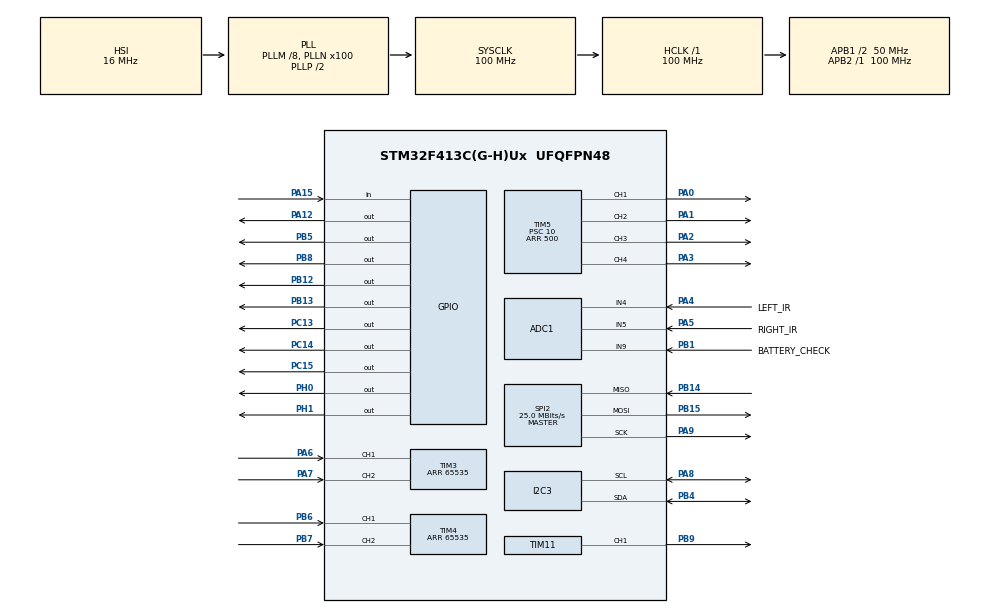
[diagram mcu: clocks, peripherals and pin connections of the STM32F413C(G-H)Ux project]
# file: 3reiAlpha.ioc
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ADC1.Channel-0\#ChannelRegularConversion=ADC_CHANNEL_4
ADC1.Channel-1\#ChannelRegularConversion=ADC_CHANNEL_5
ADC1.Channel-2\#ChannelRegularConversion=ADC_CHANNEL_9
ADC1.ClockPrescaler=ADC_CLOCK_SYNC_PCLK_DIV8
ADC1.ContinuousConvMode=ENABLE
ADC1.DMAContinuousRequests=ENABLE
ADC1.NbrOfConversion=3
ADC1.NbrOfConversionFlag=1
ADC1.Rank-0\#ChannelRegularConversion=1
ADC1.Rank-1\#ChannelRegularConversion=2
ADC1.Rank-2\#ChannelRegularConversion=3
ADC1.SamplingTime-0\#ChannelRegularConversion=ADC_SAMPLETIME_84CYCLES
ADC1.SamplingTime-1\#ChannelRegularConversion=ADC_SAMPLETIME_84CYCLES
ADC1.SamplingTime-2\#ChannelRegularConversion=ADC_SAMPLETIME_84CYCLES
ADC1.ScanConvMode=ENABLE
ADC1.master=1
Dma.ADC1.0.Direction=DMA_PERIPH_TO_MEMORY
Dma.ADC1.0.FIFOMode=DMA_FIFOMODE_DISABLE
Dma.ADC1.0.Instance=DMA2_Stream0
Dma.ADC1.0.MemDataAlignment=DMA_MDATAALIGN_HALFWORD
Dma.ADC1.0.MemInc=DMA_MINC_ENABLE
Dma.ADC1.0.Mode=DMA_CIRCULAR
Dma.ADC1.0.PeriphDataAlignment=DMA_PDATAALIGN_HALFWORD
Dma.ADC1.0.PeriphInc=DMA_PINC_DISABLE
Dma.ADC1.0.Priority=DMA_PRIORITY_LOW
Dma.Request0=ADC1
I2C3.I2C_Mode=I2C_Fast
I2C3.NoStretchMode=I2C_NOSTRETCH_ENABLE
Mcu.Family=STM32F4
Mcu.Name=STM32F413C(G-H)Ux
Mcu.Package=UFQFPN48
NVIC.ADC_IRQn=true\:0\:0\:false\:false\:true\:true\:true
NVIC.DMA2_Stream0_IRQn=true\:5\:0\:true\:true\:true\:1\:false\:true
NVIC.PriorityGroup=NVIC_PRIORITYGROUP_4
NVIC.TIM1_UP_TIM10_IRQn=true\:0\:0\:false\:false\:true\:false\:true
NVIC.TIM2_IRQn=true\:0\:0\:false\:false\:true\:true\:true
NVIC.TimeBase=TIM1_UP_TIM10_IRQn
NVIC.TimeBaseIP=TIM1
PA0.GPIO_PuPd=GPIO_PULLUP
PA0.GPIO_Speed=GPIO_SPEED_FREQ_VERY_HIGH
PA0.Signal=S_TIM5_CH1
PA1.GPIO_PuPd=GPIO_PULLUP
PA1.GPIO_Speed=GPIO_SPEED_FREQ_VERY_HIGH
PA1.Signal=S_TIM5_CH2
PA12.Signal=GPIO_Output
PA13.Signal=SYS_JTMS-SWDIO
PA14.Signal=SYS_JTCK-SWCLK
PA15.Signal=GPIO_Input
PA2.GPIO_PuPd=GPIO_PULLUP
PA2.GPIO_Speed=GPIO_SPEED_FREQ_VERY_HIGH
PA2.Signal=S_TIM5_CH3
PA3.GPIO_PuPd=GPIO_PULLUP
PA3.GPIO_Speed=GPIO_SPEED_FREQ_VERY_HIGH
PA3.Signal=S_TIM5_CH4
PA4.GPIO_Label=LEFT_IR
PA4.Signal=ADCx_IN4
PA5.GPIO_Label=RIGHT_IR
PA5.Signal=ADCx_IN5
PA6.Signal=S_TIM3_CH1
PA7.Signal=S_TIM3_CH2
PA8.Mode=I2C
PA8.Signal=I2C3_SCL
PA9.Mode=Full_Duplex_Master
PA9.Signal=SPI2_SCK
PB1.GPIO_Label=BATTERY_CHECK
PB1.Signal=ADCx_IN9
PB12.Signal=GPIO_Output
PB13.Signal=GPIO_Output
PB14.Mode=Full_Duplex_Master
PB14.Signal=SPI2_MISO
PB15.Mode=Full_Duplex_Master
PB15.Signal=SPI2_MOSI
PB3.Signal=SYS_JTDO-SWO
PB4.Mode=I2C
PB4.Signal=I2C3_SDA
PB5.Signal=GPIO_Output
PB6.Signal=S_TIM4_CH1
PB7.Signal=S_TIM4_CH2
PB8.Signal=GPIO_Output
PB9.GPIO_Speed=GPIO_SPEED_FREQ_VERY_HIGH
PB9.Signal=S_TIM11_CH1
PC13.Signal=GPIO_Output
PC14-OSC32_IN.Signal=GPIO_Output
PC15-OSC32_OUT.Signal=GPIO_Output
PH0\ -\ OSC_IN.Signal=GPIO_Output
PH1\ -\ OSC_OUT.Signal=GPIO_Output
ProjectManager.HeapSize=0x200
ProjectManager.StackSize=0x400
ProjectManager.TargetToolchain=TrueSTUDIO
RCC.AHBFreq_Value=100000000
RCC.APB1CLKDivider=RCC_HCLK_DIV2
RCC.APB1Freq_Value=50000000
RCC.APB1TimFreq_Value=100000000
RCC.APB2Freq_Value=100000000
RCC.APB2TimFreq_Value=100000000
RCC.CortexFreq_Value=100000000
RCC.HCLKFreq_Value=100000000
RCC.PLLM=8
RCC.PLLN=100
RCC.SYSCLKFreq_VALUE=100000000
RCC.SYSCLKSource=RCC_SYSCLKSOURCE_PLLCLK
RCC.USBFreq_Value=100000000
RCC.VCOOutputFreq_Value=200000000
SH.ADCx_IN4.0=ADC1_IN4,IN4
SH.ADCx_IN5.0=ADC1_IN5,IN5
SH.ADCx_IN9.0=ADC1_IN9,IN9
SH.S_TIM11_CH1.0=TIM11_CH1,PWM Generation1 CH1
SH.S_TIM3_CH1.0=TIM3_CH1,Encoder_Interface
SH.S_TIM3_CH2.0=TIM3_CH2,Encoder_Interface
SH.S_TIM4_CH1.0=TIM4_CH1,Encoder_Interface
SH.S_TIM4_CH2.0=TIM4_CH2,Encoder_Interface
SH.S_TIM5_CH1.0=TIM5_CH1,PWM Generation1 CH1
SH.S_TIM5_CH2.0=TIM5_CH2,PWM Generation2 CH2
SH.S_TIM5_CH3.0=TIM5_CH3,PWM Generation3 CH3
SH.S_TIM5_CH4.0=TIM5_CH4,PWM Generation4 CH4
SPI2.BaudRatePrescaler=SPI_BAUDRATEPRESCALER_2
SPI2.CLKPhase=SPI_PHASE_2EDGE
SPI2.CLKPolarity=SPI_POLARITY_HIGH
SPI2.CalculateBaudRate=25.0 MBits/s
SPI2.Direction=SPI_DIRECTION_2LINES
SPI2.Mode=SPI_MODE_MASTER
SPI2.VirtualType=VM_MASTER
TIM11.Channel=TIM_CHANNEL_1
TIM11.Period=100
TIM11.Prescaler=50
TIM11.Pulse=30
TIM2.Period=100
TIM2.Prescaler=10
TIM3.EncoderMode=TIM_ENCODERMODE_TI12
TIM3.Period=65535
TIM4.EncoderMode=TIM_ENCODERMODE_TI12
TIM4.IC2Polarity=TIM_ICPOLARITY_FALLING
TIM4.Period=65535
TIM5.Channel-PWM\ Generation1\ CH1=TIM_CHANNEL_1
TIM5.Channel-PWM\ Generation2\ CH2=TIM_CHANNEL_2
TIM5.Channel-PWM\ Generation3\ CH3=TIM_CHANNEL_3
TIM5.Channel-PWM\ Generation4\ CH4=TIM_CHANNEL_4
TIM5.Period=500
TIM5.Prescaler=10
TIM5.Pulse-PWM\ Generation1\ CH1=100
TIM5.Pulse-PWM\ Generation3\ CH3=100
TIM6.Period=1000
TIM6.Prescaler=10
VP_SYS_VS_tim1.Mode=TIM1
VP_TIM11_VS_ClockSourceINT.Mode=Enable_Timer
VP_TIM2_VS_ClockSourceINT.Mode=Internal
VP_TIM6_VS_ClockSourceINT.Mode=Enable_Timer
board=custom

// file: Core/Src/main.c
/* USER CODE BEGIN Header */
/**
  ******************************************************************************
  * @file           : main.c
  * @brief          : Main program body
  ******************************************************************************
  * @attention
  *
  * <h2><center>&copy; Copyright (c) 2019 STMicroelectronics.
  * All rights reserved.</center></h2>
  *
  * This software component is licensed by ST under Ultimate Liberty license
  * SLA0044, the "License"; You may not use this file except in compliance with
  * the License. You may obtain a copy of the License at:
  *                             www.st.com/SLA0044
  *
  ******************************************************************************
  */
/* USER CODE END Header */

#include "main.h"

ADC_HandleTypeDef hadc1;
DMA_HandleTypeDef hdma_adc1;

I2C_HandleTypeDef hi2c3;

SPI_HandleTypeDef hspi2;

TIM_HandleTypeDef htim2;
TIM_HandleTypeDef htim3;
TIM_HandleTypeDef htim4;
TIM_HandleTypeDef htim5;
TIM_HandleTypeDef htim6;
TIM_HandleTypeDef htim11;

void SystemClock_Config(void);
static void MX_GPIO_Init(void);
static void MX_DMA_Init(void);
static void MX_ADC1_Init(void);
static void MX_I2C3_Init(void);
static void MX_SPI2_Init(void);
static void MX_TIM3_Init(void);
static void MX_TIM4_Init(void);
static void MX_TIM5_Init(void);
static void MX_TIM6_Init(void);
static void MX_TIM11_Init(void);
static void MX_TIM2_Init(void);
static void MX_NVIC_Init(void);
/* USER CODE BEGIN PFP */
enum{ ADC_BUFFER_LENGTH = 3};
volatile uint16_t g_ADCBuffer[ADC_BUFFER_LENGTH];
volatile uint16_t sampled_ADCBuffer[ADC_BUFFER_LENGTH];
uint32_t time_measure = 0;
uint16_t left_IR_value = 0, right_IR_value = 0;
uint16_t left_IR_tmp_value = 0, right_IR_tmp_value = 0;
int16_t left_encoder, right_encoder;

/* USER CODE END PFP */

/* USER CODE BEGIN 0 */
void vLEDFlashTask( void *pvParameters )
{
  portTickType xLastWakeTime;
  const portTickType xFrequency = 1000;
  xLastWakeTime=xTaskGetTickCount();
  while(1){
  	HAL_GPIO_TogglePin(GPIOC, GPIO_PIN_13 | GPIO_PIN_14 | GPIO_PIN_15);
  	HAL_GPIO_TogglePin(GPIOH, GPIO_PIN_0);
  	vTaskDelayUntil(&xLastWakeTime,xFrequency);
  	printf("ADC %d, %d, %d\n", g_ADCBuffer[0], g_ADCBuffer[1], g_ADCBuffer[2]);
  }
}
void HAL_ADC_ConvHalfCpltCallback(ADC_HandleTypeDef* hadc)
{
	//osMessageQueuePut(myQueue01Handle, g_ADCBuffer, 0, 0);
	//HAL_ADC_Stop_DMA(&hadc1);
	//sampled_ADCBuffer[0] = g_ADCBuffer[0];
	//sampled_ADCBuffer[1] = g_ADCBuffer[1];
	//sampled_ADCBuffer[2] = g_ADCBuffer[2];
  /* Prevent unused argument(s) compilation warning */
  //HAL_ADC_Start_DMA(&hadc1, g_ADCBuffer, ADC_BUFFER_LENGTH);//DMA start
  /* NOTE : This function should not be modified. When the callback is needed,
            function HAL_ADC_ConvHalfCpltCallback must be implemented in the user file.
  */
}
/* USER CODE END 0 */

int main(void)
{

  /* MCU Configuration--------------------------------------------------------*/

  /* Reset of all peripherals, Initializes the Flash interface and the Systick. */
  HAL_Init();

  /* USER CODE BEGIN Init */
	printf("po %f\r\n", 3.14);
  /* USER CODE END Init */

  /* Configure the system clock */
  SystemClock_Config();

  /* Initialize all configured peripherals */
  MX_GPIO_Init();
  MX_DMA_Init();
  MX_ADC1_Init();
  MX_I2C3_Init();
  MX_SPI2_Init();
  MX_TIM3_Init();
  MX_TIM4_Init();
  MX_TIM5_Init();
  MX_TIM6_Init();
  MX_TIM11_Init();
  MX_TIM2_Init();

  /* Initialize interrupts */
  MX_NVIC_Init();
  /* USER CODE BEGIN 2 */
  HAL_Delay(500);
  HAL_ADC_Start_DMA(&hadc1, g_ADCBuffer, ADC_BUFFER_LENGTH);//DMA start
  HAL_Delay(500);

#if 0
  HAL_TIM_Base_Start_IT(&htim2); //control sequence
  //start_motor();
  HAL_Delay(1000);
  stop_motor();
  HAL_TIM_Encoder_Start(&htim3,TIM_CHANNEL_ALL);// left encoder
  HAL_TIM_Encoder_Start(&htim4,TIM_CHANNEL_ALL);// right encoder
  IR_start();
  imuSetting();
  imuPing();
  while(1){
  	//IR_task();
  	printf("CNT3 -> %d CNT4 -> %d\n",TIM3->CNT, TIM4->CNT);
  	printf("ADC0 -> %d ADC1 -> %d ADC2 -> %d\n", g_ADCBuffer[0], g_ADCBuffer[1], g_ADCBuffer[2]);
    printf("gyro is %d \n", readZGYRO());

    ToF_sampling_test();
  	HAL_Delay(10);
  }
  /*
  while(1){
  	HAL_Delay(10);
    printf("gyro is %d \n", readZGYRO());
  }
  */
  //Sample_FreeRunningRanging();
  Sample_SimpleRanging();
  //Sample_SimpleAls();
  HAL_Delay(600);
#endif
  /* USER CODE END 2 */

  /* Infinite loop */
  /* USER CODE BEGIN WHILE */
  xTaskCreate( vLEDFlashTask, ( signed char * ) "LED", configMINIMAL_STACK_SIZE, NULL, 1, NULL);
  vTaskStartScheduler();
  while (1)
  {
    /* USER CODE END WHILE */

  }
}

void SystemClock_Config(void)
{
  RCC_OscInitTypeDef RCC_OscInitStruct = {0};
  RCC_ClkInitTypeDef RCC_ClkInitStruct = {0};

  /** Configure the main internal regulator output voltage
  */
  __HAL_RCC_PWR_CLK_ENABLE();
  __HAL_PWR_VOLTAGESCALING_CONFIG(PWR_REGULATOR_VOLTAGE_SCALE1);
  /** Initializes the CPU, AHB and APB busses clocks
  */
  RCC_OscInitStruct.OscillatorType = RCC_OSCILLATORTYPE_HSI;
  RCC_OscInitStruct.HSIState = RCC_HSI_ON;
  RCC_OscInitStruct.HSICalibrationValue = RCC_HSICALIBRATION_DEFAULT;
  RCC_OscInitStruct.PLL.PLLState = RCC_PLL_ON;
  RCC_OscInitStruct.PLL.PLLSource = RCC_PLLSOURCE_HSI;
  RCC_OscInitStruct.PLL.PLLM = 8;
  RCC_OscInitStruct.PLL.PLLN = 100;
  RCC_OscInitStruct.PLL.PLLP = RCC_PLLP_DIV2;
  RCC_OscInitStruct.PLL.PLLQ = 2;
  RCC_OscInitStruct.PLL.PLLR = 2;
  if (HAL_RCC_OscConfig(&RCC_OscInitStruct) != HAL_OK)
  {
    Error_Handler();
  }
  /** Initializes the CPU, AHB and APB busses clocks
  */
  RCC_ClkInitStruct.ClockType = RCC_CLOCKTYPE_HCLK|RCC_CLOCKTYPE_SYSCLK
                              |RCC_CLOCKTYPE_PCLK1|RCC_CLOCKTYPE_PCLK2;
  RCC_ClkInitStruct.SYSCLKSource = RCC_SYSCLKSOURCE_PLLCLK;
  RCC_ClkInitStruct.AHBCLKDivider = RCC_SYSCLK_DIV1;
  RCC_ClkInitStruct.APB1CLKDivider = RCC_HCLK_DIV2;
  RCC_ClkInitStruct.APB2CLKDivider = RCC_HCLK_DIV1;

  if (HAL_RCC_ClockConfig(&RCC_ClkInitStruct, FLASH_LATENCY_3) != HAL_OK)
  {
    Error_Handler();
  }
}

/**
  * @brief NVIC Configuration.
  * @retval None
  */
static void MX_NVIC_Init(void)
{
  /* DMA2_Stream0_IRQn interrupt configuration */
  HAL_NVIC_SetPriority(DMA2_Stream0_IRQn, 5, 0);
  HAL_NVIC_EnableIRQ(DMA2_Stream0_IRQn);
}

static void MX_ADC1_Init(void)
{

  ADC_ChannelConfTypeDef sConfig = {0};

  /** Configure the global features of the ADC (Clock, Resolution, Data Alignment and number of conversion)
  */
  hadc1.Instance = ADC1;
  hadc1.Init.ClockPrescaler = ADC_CLOCK_SYNC_PCLK_DIV8;
  hadc1.Init.Resolution = ADC_RESOLUTION_12B;
  hadc1.Init.ScanConvMode = ENABLE;
  hadc1.Init.ContinuousConvMode = ENABLE;
  hadc1.Init.DiscontinuousConvMode = DISABLE;
  hadc1.Init.ExternalTrigConvEdge = ADC_EXTERNALTRIGCONVEDGE_NONE;
  hadc1.Init.ExternalTrigConv = ADC_SOFTWARE_START;
  hadc1.Init.DataAlign = ADC_DATAALIGN_RIGHT;
  hadc1.Init.NbrOfConversion = 3;
  hadc1.Init.DMAContinuousRequests = ENABLE;
  hadc1.Init.EOCSelection = ADC_EOC_SINGLE_CONV;
  if (HAL_ADC_Init(&hadc1) != HAL_OK)
  {
    Error_Handler();
  }
  /** Configure for the selected ADC regular channel its corresponding rank in the sequencer and its sample time.
  */
  sConfig.Channel = ADC_CHANNEL_4;
  sConfig.Rank = 1;
  sConfig.SamplingTime = ADC_SAMPLETIME_84CYCLES;
  if (HAL_ADC_ConfigChannel(&hadc1, &sConfig) != HAL_OK)
  {
    Error_Handler();
  }
  /** Configure for the selected ADC regular channel its corresponding rank in the sequencer and its sample time.
  */
  sConfig.Channel = ADC_CHANNEL_5;
  sConfig.Rank = 2;
  if (HAL_ADC_ConfigChannel(&hadc1, &sConfig) != HAL_OK)
  {
    Error_Handler();
  }
  /** Configure for the selected ADC regular channel its corresponding rank in the sequencer and its sample time.
  */
  sConfig.Channel = ADC_CHANNEL_9;
  sConfig.Rank = 3;
  if (HAL_ADC_ConfigChannel(&hadc1, &sConfig) != HAL_OK)
  {
    Error_Handler();
  }

}

static void MX_I2C3_Init(void)
{

  hi2c3.Instance = I2C3;
  hi2c3.Init.ClockSpeed = 400000;
  hi2c3.Init.DutyCycle = I2C_DUTYCYCLE_2;
  hi2c3.Init.OwnAddress1 = 0;
  hi2c3.Init.AddressingMode = I2C_ADDRESSINGMODE_7BIT;
  hi2c3.Init.DualAddressMode = I2C_DUALADDRESS_DISABLE;
  hi2c3.Init.OwnAddress2 = 0;
  hi2c3.Init.GeneralCallMode = I2C_GENERALCALL_DISABLE;
  hi2c3.Init.NoStretchMode = I2C_NOSTRETCH_ENABLE;
  if (HAL_I2C_Init(&hi2c3) != HAL_OK)
  {
    Error_Handler();
  }

}

static void MX_SPI2_Init(void)
{

  /* SPI2 parameter configuration*/
  hspi2.Instance = SPI2;
  hspi2.Init.Mode = SPI_MODE_MASTER;
  hspi2.Init.Direction = SPI_DIRECTION_2LINES;
  hspi2.Init.DataSize = SPI_DATASIZE_8BIT;
  hspi2.Init.CLKPolarity = SPI_POLARITY_HIGH;
  hspi2.Init.CLKPhase = SPI_PHASE_2EDGE;
  hspi2.Init.NSS = SPI_NSS_SOFT;
  hspi2.Init.BaudRatePrescaler = SPI_BAUDRATEPRESCALER_2;
  hspi2.Init.FirstBit = SPI_FIRSTBIT_MSB;
  hspi2.Init.TIMode = SPI_TIMODE_DISABLE;
  hspi2.Init.CRCCalculation = SPI_CRCCALCULATION_DISABLE;
  hspi2.Init.CRCPolynomial = 10;
  if (HAL_SPI_Init(&hspi2) != HAL_OK)
  {
    Error_Handler();
  }

}

static void MX_TIM2_Init(void)
{

  TIM_ClockConfigTypeDef sClockSourceConfig = {0};
  TIM_MasterConfigTypeDef sMasterConfig = {0};

  htim2.Instance = TIM2;
  htim2.Init.Prescaler = 10;
  htim2.Init.CounterMode = TIM_COUNTERMODE_UP;
  htim2.Init.Period = 100;
  htim2.Init.ClockDivision = TIM_CLOCKDIVISION_DIV1;
  htim2.Init.AutoReloadPreload = TIM_AUTORELOAD_PRELOAD_DISABLE;
  if (HAL_TIM_Base_Init(&htim2) != HAL_OK)
  {
    Error_Handler();
  }
  sClockSourceConfig.ClockSource = TIM_CLOCKSOURCE_INTERNAL;
  if (HAL_TIM_ConfigClockSource(&htim2, &sClockSourceConfig) != HAL_OK)
  {
    Error_Handler();
  }
  sMasterConfig.MasterOutputTrigger = TIM_TRGO_RESET;
  sMasterConfig.MasterSlaveMode = TIM_MASTERSLAVEMODE_DISABLE;
  if (HAL_TIMEx_MasterConfigSynchronization(&htim2, &sMasterConfig) != HAL_OK)
  {
    Error_Handler();
  }

}

static void MX_TIM3_Init(void)
{

  TIM_Encoder_InitTypeDef sConfig = {0};
  TIM_MasterConfigTypeDef sMasterConfig = {0};

  htim3.Instance = TIM3;
  htim3.Init.Prescaler = 0;
  htim3.Init.CounterMode = TIM_COUNTERMODE_UP;
  htim3.Init.Period = 65535;
  htim3.Init.ClockDivision = TIM_CLOCKDIVISION_DIV1;
  htim3.Init.AutoReloadPreload = TIM_AUTORELOAD_PRELOAD_DISABLE;
  sConfig.EncoderMode = TIM_ENCODERMODE_TI12;
  sConfig.IC1Polarity = TIM_ICPOLARITY_RISING;
  sConfig.IC1Selection = TIM_ICSELECTION_DIRECTTI;
  sConfig.IC1Prescaler = TIM_ICPSC_DIV1;
  sConfig.IC1Filter = 0;
  sConfig.IC2Polarity = TIM_ICPOLARITY_RISING;
  sConfig.IC2Selection = TIM_ICSELECTION_DIRECTTI;
  sConfig.IC2Prescaler = TIM_ICPSC_DIV1;
  sConfig.IC2Filter = 0;
  if (HAL_TIM_Encoder_Init(&htim3, &sConfig) != HAL_OK)
  {
    Error_Handler();
  }
  sMasterConfig.MasterOutputTrigger = TIM_TRGO_RESET;
  sMasterConfig.MasterSlaveMode = TIM_MASTERSLAVEMODE_DISABLE;
  if (HAL_TIMEx_MasterConfigSynchronization(&htim3, &sMasterConfig) != HAL_OK)
  {
    Error_Handler();
  }

}

static void MX_TIM4_Init(void)
{

  TIM_Encoder_InitTypeDef sConfig = {0};
  TIM_MasterConfigTypeDef sMasterConfig = {0};

  htim4.Instance = TIM4;
  htim4.Init.Prescaler = 0;
  htim4.Init.CounterMode = TIM_COUNTERMODE_UP;
  htim4.Init.Period = 65535;
  htim4.Init.ClockDivision = TIM_CLOCKDIVISION_DIV1;
  htim4.Init.AutoReloadPreload = TIM_AUTORELOAD_PRELOAD_DISABLE;
  sConfig.EncoderMode = TIM_ENCODERMODE_TI12;
  sConfig.IC1Polarity = TIM_ICPOLARITY_RISING;
  sConfig.IC1Selection = TIM_ICSELECTION_DIRECTTI;
  sConfig.IC1Prescaler = TIM_ICPSC_DIV1;
  sConfig.IC1Filter = 0;
  sConfig.IC2Polarity = TIM_ICPOLARITY_FALLING;
  sConfig.IC2Selection = TIM_ICSELECTION_DIRECTTI;
  sConfig.IC2Prescaler = TIM_ICPSC_DIV1;
  sConfig.IC2Filter = 0;
  if (HAL_TIM_Encoder_Init(&htim4, &sConfig) != HAL_OK)
  {
    Error_Handler();
  }
  sMasterConfig.MasterOutputTrigger = TIM_TRGO_RESET;
  sMasterConfig.MasterSlaveMode = TIM_MASTERSLAVEMODE_DISABLE;
  if (HAL_TIMEx_MasterConfigSynchronization(&htim4, &sMasterConfig) != HAL_OK)
  {
    Error_Handler();
  }

}

static void MX_TIM5_Init(void)
{

  TIM_MasterConfigTypeDef sMasterConfig = {0};
  TIM_OC_InitTypeDef sConfigOC = {0};

  htim5.Instance = TIM5;
  htim5.Init.Prescaler = 10;
  htim5.Init.CounterMode = TIM_COUNTERMODE_UP;
  htim5.Init.Period = 500;
  htim5.Init.ClockDivision = TIM_CLOCKDIVISION_DIV1;
  htim5.Init.AutoReloadPreload = TIM_AUTORELOAD_PRELOAD_DISABLE;
  if (HAL_TIM_PWM_Init(&htim5) != HAL_OK)
  {
    Error_Handler();
  }
  sMasterConfig.MasterOutputTrigger = TIM_TRGO_RESET;
  sMasterConfig.MasterSlaveMode = TIM_MASTERSLAVEMODE_DISABLE;
  if (HAL_TIMEx_MasterConfigSynchronization(&htim5, &sMasterConfig) != HAL_OK)
  {
    Error_Handler();
  }
  sConfigOC.OCMode = TIM_OCMODE_PWM1;
  sConfigOC.Pulse = 100;
  sConfigOC.OCPolarity = TIM_OCPOLARITY_HIGH;
  sConfigOC.OCFastMode = TIM_OCFAST_DISABLE;
  if (HAL_TIM_PWM_ConfigChannel(&htim5, &sConfigOC, TIM_CHANNEL_1) != HAL_OK)
  {
    Error_Handler();
  }
  sConfigOC.Pulse = 0;
  if (HAL_TIM_PWM_ConfigChannel(&htim5, &sConfigOC, TIM_CHANNEL_2) != HAL_OK)
  {
    Error_Handler();
  }
  sConfigOC.Pulse = 100;
  if (HAL_TIM_PWM_ConfigChannel(&htim5, &sConfigOC, TIM_CHANNEL_3) != HAL_OK)
  {
    Error_Handler();
  }
  sConfigOC.Pulse = 0;
  if (HAL_TIM_PWM_ConfigChannel(&htim5, &sConfigOC, TIM_CHANNEL_4) != HAL_OK)
  {
    Error_Handler();
  }
  HAL_TIM_MspPostInit(&htim5);

}

static void MX_TIM6_Init(void)
{

  TIM_MasterConfigTypeDef sMasterConfig = {0};

  htim6.Instance = TIM6;
  htim6.Init.Prescaler = 10;
  htim6.Init.CounterMode = TIM_COUNTERMODE_UP;
  htim6.Init.Period = 1000;
  htim6.Init.AutoReloadPreload = TIM_AUTORELOAD_PRELOAD_DISABLE;
  if (HAL_TIM_Base_Init(&htim6) != HAL_OK)
  {
    Error_Handler();
  }
  sMasterConfig.MasterOutputTrigger = TIM_TRGO_RESET;
  sMasterConfig.MasterSlaveMode = TIM_MASTERSLAVEMODE_DISABLE;
  if (HAL_TIMEx_MasterConfigSynchronization(&htim6, &sMasterConfig) != HAL_OK)
  {
    Error_Handler();
  }

}

static void MX_TIM11_Init(void)
{

  TIM_OC_InitTypeDef sConfigOC = {0};

  htim11.Instance = TIM11;
  htim11.Init.Prescaler = 50;
  htim11.Init.CounterMode = TIM_COUNTERMODE_UP;
  htim11.Init.Period = 100;
  htim11.Init.ClockDivision = TIM_CLOCKDIVISION_DIV1;
  htim11.Init.AutoReloadPreload = TIM_AUTORELOAD_PRELOAD_DISABLE;
  if (HAL_TIM_Base_Init(&htim11) != HAL_OK)
  {
    Error_Handler();
  }
  if (HAL_TIM_PWM_Init(&htim11) != HAL_OK)
  {
    Error_Handler();
  }
  sConfigOC.OCMode = TIM_OCMODE_PWM1;
  sConfigOC.Pulse = 30;
  sConfigOC.OCPolarity = TIM_OCPOLARITY_HIGH;
  sConfigOC.OCFastMode = TIM_OCFAST_DISABLE;
  if (HAL_TIM_PWM_ConfigChannel(&htim11, &sConfigOC, TIM_CHANNEL_1) != HAL_OK)
  {
    Error_Handler();
  }
  HAL_TIM_MspPostInit(&htim11);

}

static void MX_DMA_Init(void)
{
  /* DMA controller clock enable */
  __HAL_RCC_DMA2_CLK_ENABLE();

}

static void MX_GPIO_Init(void)
{
  GPIO_InitTypeDef GPIO_InitStruct = {0};

  /* GPIO Ports Clock Enable */
  __HAL_RCC_GPIOC_CLK_ENABLE();
  __HAL_RCC_GPIOH_CLK_ENABLE();
  __HAL_RCC_GPIOA_CLK_ENABLE();
  __HAL_RCC_GPIOB_CLK_ENABLE();

  /*Configure GPIO pin Output Level */
  HAL_GPIO_WritePin(GPIOC, GPIO_PIN_13|GPIO_PIN_14|GPIO_PIN_15, GPIO_PIN_RESET);

  /*Configure GPIO pin Output Level */
  HAL_GPIO_WritePin(GPIOH, GPIO_PIN_0|GPIO_PIN_1, GPIO_PIN_RESET);

  /*Configure GPIO pin Output Level */
  HAL_GPIO_WritePin(GPIOB, GPIO_PIN_12|GPIO_PIN_13|GPIO_PIN_5|GPIO_PIN_8, GPIO_PIN_RESET);

  /*Configure GPIO pin Output Level */
  HAL_GPIO_WritePin(GPIOA, GPIO_PIN_12, GPIO_PIN_RESET);

  /*Configure GPIO pins : PC13 PC14 PC15 */
  GPIO_InitStruct.Pin = GPIO_PIN_13|GPIO_PIN_14|GPIO_PIN_15;
  GPIO_InitStruct.Mode = GPIO_MODE_OUTPUT_PP;
  GPIO_InitStruct.Pull = GPIO_NOPULL;
  GPIO_InitStruct.Speed = GPIO_SPEED_FREQ_LOW;
  HAL_GPIO_Init(GPIOC, &GPIO_InitStruct);

  /*Configure GPIO pins : PH0 PH1 */
  GPIO_InitStruct.Pin = GPIO_PIN_0|GPIO_PIN_1;
  GPIO_InitStruct.Mode = GPIO_MODE_OUTPUT_PP;
  GPIO_InitStruct.Pull = GPIO_NOPULL;
  GPIO_InitStruct.Speed = GPIO_SPEED_FREQ_LOW;
  HAL_GPIO_Init(GPIOH, &GPIO_InitStruct);

  /*Configure GPIO pins : PB12 PB13 PB5 PB8 */
  GPIO_InitStruct.Pin = GPIO_PIN_12|GPIO_PIN_13|GPIO_PIN_5|GPIO_PIN_8;
  GPIO_InitStruct.Mode = GPIO_MODE_OUTPUT_PP;
  GPIO_InitStruct.Pull = GPIO_NOPULL;
  GPIO_InitStruct.Speed = GPIO_SPEED_FREQ_LOW;
  HAL_GPIO_Init(GPIOB, &GPIO_InitStruct);

  /*Configure GPIO pin : PA12 */
  GPIO_InitStruct.Pin = GPIO_PIN_12;
  GPIO_InitStruct.Mode = GPIO_MODE_OUTPUT_PP;
  GPIO_InitStruct.Pull = GPIO_NOPULL;
  GPIO_InitStruct.Speed = GPIO_SPEED_FREQ_LOW;
  HAL_GPIO_Init(GPIOA, &GPIO_InitStruct);

  /*Configure GPIO pin : PA15 */
  GPIO_InitStruct.Pin = GPIO_PIN_15;
  GPIO_InitStruct.Mode = GPIO_MODE_INPUT;
  GPIO_InitStruct.Pull = GPIO_NOPULL;
  HAL_GPIO_Init(GPIOA, &GPIO_InitStruct);

}

void HAL_TIM_PeriodElapsedCallback(TIM_HandleTypeDef *htim)
{
  if (htim->Instance == TIM1) {
    HAL_IncTick();
  }
  /* USER CODE BEGIN Callback 1 */

  /*
  if (htim->Instance == htim2.Instance) {//100kHz
	  time_measure = (time_measure + 1) % 1000000;
	  robotFlag.ir_sample = true;
	  if(time_measure % 20 == 0){
	  	robotFlag.ir_reset = true;
	  }
	  robotFlag.debug = false;
	  if(time_measure % 100 == 0){ //1kHz
	  	robotFlag.encoder = true;
	  	robotFlag.gyro = true;
	  }
	  if(time_measure % (100 * 10)== 0){
	  	robotFlag.debug = true;
	  	SEGGER_RTT_printf(0, "CH1 %d, CH2 %d\r\n", left_IR_value - 2047, right_IR_value - 2047);
	  	SEGGER_RTT_printf(0, "left %d, right %d\r\n", left_encoder, right_encoder);
	  }
  }
  */
#if 0
  if (htim->Instance == htim6.Instance) {
  	HAL_GPIO_TogglePin(GPIOB, GPIO_PIN_10);
  }
#endif
  /* USER CODE END Callback 1 */
}

void Error_Handler(void)
{
  /* USER CODE BEGIN Error_Handler_Debug */
  /* User can add his own implementation to report the HAL error return state */
	printf("Error Happened\n");
  /* USER CODE END Error_Handler_Debug */
}

/************************ (C) COPYRIGHT STMicroelectronics *****END OF FILE****/
